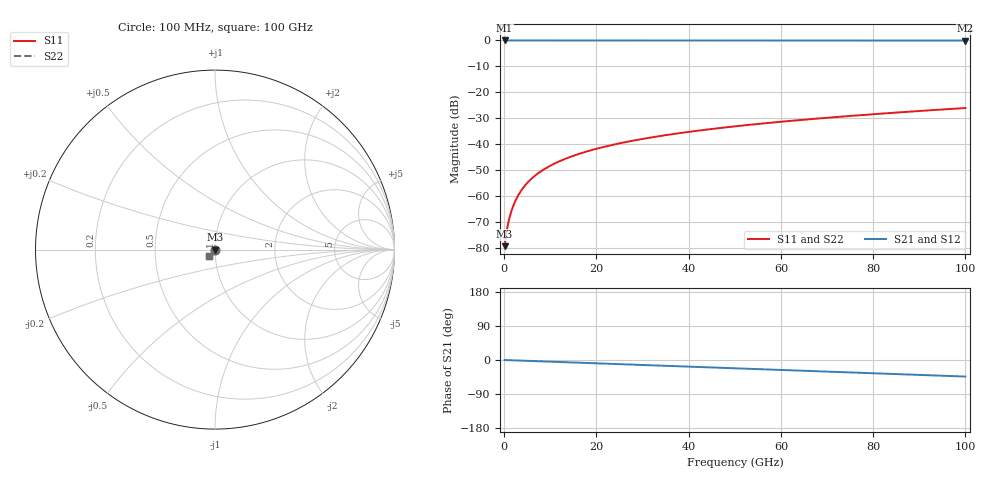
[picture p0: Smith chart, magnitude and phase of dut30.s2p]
! Touchstone file exported from HFSS 2026.1.0
!  File:  C:/ffzhzh/LocalFiles/Ansys_Project_Files/temp_train_TSV_30_1783504591_44152.aedt
!  Generated:  05:57:39 PM Jul  8, 2026
!  Design:  TSV
!  Project:  temp_train_TSV_30_1783504591_44152
! Variables:
!  h_bsmrdl = 2um
!  h_ox = 20um
!  h_rdl = 5um
!  h_sub = 88.95um
!  h_tmrdl = 5um
!  h_tsv = 88.95um
!  h_via = 3um
!  l_bsmrdl = 300um
!  l_sub = 423.4um
!  l_tmrdl = 200um
!  m_sub = 200um
!  pitch = 44.73um
!  r_tsv = 11.7um
!  s_tmrdl = 10um
!  w_bsmrdl = 18um
!  w_sub = 500um
!  w_tmrdl = 12um
!  x_tsv_center1 = 206um
!  x_tsv_center2 = 524um
!  x_tsv_center3 = 736um
!  x_tsv_center4 = 1054um
!  x_tsv_center5 = 1266um
!  x_tsv_center6 = 1584um
# GHz S MA R 50.000000
! Terminal data exported
! Port[1] = TSV1_1_T1
! Port[2] = TSV1_1_T2
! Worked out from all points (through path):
!   1000 points, 100 MHz to 100 GHz, reference 50 ohm
!   highest |S21| = 0.00 dB at 100 MHz (marker M1); lowest = 0.0 dB at 100 GHz (marker M2)
!   group delay of S21, straight-line fit = 1.21 ps
!   lowest |S11| = -79.2 dB at 100 MHz (marker M3), VSWR 1.00, Z = 50 + j0.000581 ohm
!   |S11| at or under -10 dB: start of sweep to end of sweep
!   |S22| runs from -79.2 to -26.0 dB; largest |S21 - S12| = 3.6e-15
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0.1  0.00011 3.0  0.9999 -0.0  0.9999 -0.0  0.00011 3.0
! Gamma 0 0 0 0
! Port Impedance 50 0 50 0
0.4  0.0001713 -4.5  0.9998 -0.2  0.9998 -0.2  0.0001713 -4.5
0.8  0.0002813 -25.2  0.9997 -0.4  0.9997 -0.4  0.0002813 -25.2
1.1  0.0003703 -36.5  0.9997 -0.5  0.9997 -0.5  0.0003703 -36.5
1.5  0.0004961 -46.4  0.9997 -0.7  0.9997 -0.7  0.0004961 -46.4
1.9  0.0006295 -52.9  0.9996 -0.8  0.9996 -0.8  0.0006295 -52.9
2.5  0.0008414 -59.2  0.9996 -1.1  0.9996 -1.1  0.0008414 -59.2
3.1  0.001064 -63.5  0.9995 -1.4  0.9995 -1.4  0.001064 -63.5
3.9  0.001373 -67.7  0.9994 -1.7  0.9994 -1.7  0.001373 -67.6
4.7  0.00169 -70.7  0.9994 -2.1  0.9994 -2.1  0.00169 -70.7
5.7  0.002093 -73.7  0.9993 -2.5  0.9993 -2.5  0.002094 -73.6
6.8  0.002543 -76.2  0.9993 -3.0  0.9993 -3.0  0.002543 -76.1
9.5  0.00367 -80.3  0.9991 -4.2  0.9991 -4.2  0.00367 -80.3
12.8  0.005083 -83.9  0.999 -5.6  0.999 -5.6  0.005083 -83.9
16.8  0.006822 -87.4  0.9988 -7.3  0.9988 -7.3  0.006823 -87.4
24.1  0.01006 -92.5  0.9985 -10.5  0.9985 -10.5  0.01006 -92.5
33.4  0.0143 -98.0  0.9982 -14.6  0.9982 -14.6  0.0143 -97.9
41.2  0.01797 -102.2  0.998 -18.0  0.998 -18.0  0.01797 -102.1
50.1  0.02228 -106.8  0.9977 -21.8  0.9977 -21.8  0.02228 -106.7
66.7  0.03076 -115.0  0.9971 -29.1  0.9971 -29.1  0.03077 -114.9
83.4  0.04001 -123.1  0.9964 -36.4  0.9964 -36.4  0.04002 -122.9
100  0.0501 -131.1  0.9955 -43.7  0.9955 -43.7  0.0501 -130.9
